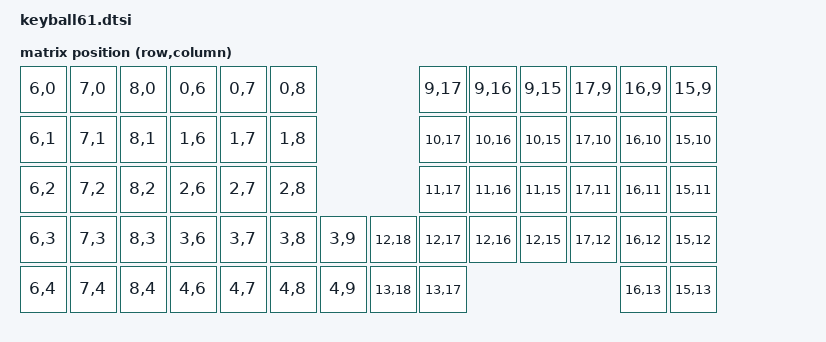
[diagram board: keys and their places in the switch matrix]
#include <dt-bindings/zmk/matrix_transform.h>
#include "keyball61_layouts.dtsi"

&physical_layout0 {
    transform = <&default_transform>; // Label of the matrix transform this layout uses
};

/ {
    chosen {
        zmk,kscan = &kscan0;
        zmk,physical-layout = &physical_layout0;
    };

    default_transform: matrix_transform0 {
        compatible = "zmk,matrix-transform";
        columns = <14>;
        rows = <5>;
        map = <
            RC(6,0) RC(7,0) RC(8,0) RC(0,6) RC(0,7) RC(0,8)                       RC(9,17)  RC(9,16)  RC(9,15)  RC(17,9)  RC(16,9)  RC(15,9)
            RC(6,1) RC(7,1) RC(8,1) RC(1,6) RC(1,7) RC(1,8)                       RC(10,17) RC(10,16) RC(10,15) RC(17,10) RC(16,10) RC(15,10)
            RC(6,2) RC(7,2) RC(8,2) RC(2,6) RC(2,7) RC(2,8)                       RC(11,17) RC(11,16) RC(11,15) RC(17,11) RC(16,11) RC(15,11)
            RC(6,3) RC(7,3) RC(8,3) RC(3,6) RC(3,7) RC(3,8) RC(3,9)     RC(12,18) RC(12,17) RC(12,16) RC(12,15) RC(17,12) RC(16,12) RC(15,12)
            RC(6,4) RC(7,4) RC(8,4) RC(4,6) RC(4,7) RC(4,8) RC(4,9)     RC(13,18) RC(13,17)                               RC(16,13) RC(15,13)
        >;
    };

    kscan0: kscan {
        compatible = "zmk,kscan-gpio-charlieplex";
        wakeup-source;

        gpios
            = <&pro_micro 4 GPIO_ACTIVE_HIGH>
            , <&pro_micro 5 GPIO_ACTIVE_HIGH>
            , <&pro_micro 6 GPIO_ACTIVE_HIGH>
            , <&pro_micro 7 GPIO_ACTIVE_HIGH>
            , <&pro_micro 8 GPIO_ACTIVE_HIGH>
            , <&pro_micro 21 GPIO_ACTIVE_HIGH>
            , <&pro_micro 20 GPIO_ACTIVE_HIGH>
            , <&pro_micro 19 GPIO_ACTIVE_HIGH>
            , <&pro_micro 18 GPIO_ACTIVE_HIGH>
            ;
    };
};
